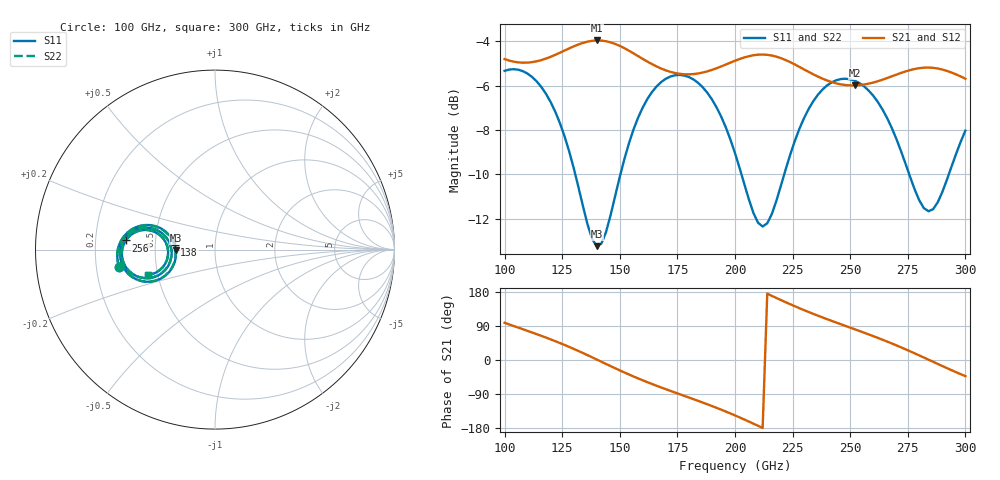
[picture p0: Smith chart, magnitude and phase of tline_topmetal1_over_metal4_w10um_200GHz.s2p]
#  GHZ S DB R 50
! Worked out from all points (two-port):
!   101 points, 100 GHz to 300 GHz, reference 50 ohm
!   highest |S21| = -3.96 dB at 140 GHz (marker M1); lowest = -6.0 dB at 252 GHz (marker M2)
!   |S21| within 3 dB of the highest: start of sweep to end of sweep
!   lowest |S11| = -13.2 dB at 140 GHz (marker M3), VSWR 1.56, Z = 32.1 - j0.33 ohm
!   |S11| at or under -10 dB: 130.7 GHz to 150.3 GHz (19.57 GHz wide, 13.9 % of centre); 202.8 GHz to 221.4 GHz (18.53 GHz wide, 8.74 % of centre); 275.6 GHz to 292.8 GHz (17.14 GHz wide, 6.03 % of centre)
!   |S22| runs from -13.1 to -5.2 dB; largest |S21 - S12| = 6.1e-14
!   S11 on the Smith chart (normalised r, x): 100 GHz: 0.30, -0.08; 138 GHz: 0.63, +0.04; 256 GHz: 0.33, +0.05; 300 GHz: 0.44, -0.15
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100  -5.33 -169.5  -4.80 98.3  -4.80 98.3  -5.32 -169.4
110  -5.46 176.8  -4.96 76.8  -4.96 76.8  -5.45 176.9
120  -6.74 164.4  -4.69 54.4  -4.69 54.4  -6.72 164.7
134  -11.42 162.3  -4.07 18.4  -4.07 18.4  -11.37 162.5
138  -12.91 173.2  -3.97 7.0  -3.97 7.0  -12.83 173.4
140  -13.23 -178.7  -3.96 1.3  -3.96 1.3  -13.15 -178.6
146  -11.83 -157.5  -4.04 -16.1  -4.04 -16.1  -11.78 -157.7
154  -8.59 -152.3  -4.42 -38.3  -4.42 -38.3  -8.56 -152.5
168  -5.83 -166.4  -5.23 -72.6  -5.23 -72.6  -5.82 -166.5
182  -5.72 176.2  -5.47 -103.4  -5.47 -103.4  -5.71 176.2
192  -6.97 165.4  -5.21 -126.2  -5.21 -126.2  -6.96 165.4
200  -9.04 161.2  -4.87 -146.2  -4.87 -146.2  -9.02 161.3
212  -12.35 -177.4  -4.59 -179.4  -4.59 -179.4  -12.29 -177.4
224  -9.10 -155.5  -4.94 147.1  -4.94 147.1  -9.07 -155.7
234  -6.69 -161.4  -5.49 121.7  -5.49 121.7  -6.68 -161.6
252  -5.77 178.5  -5.99 81.0  -5.99 81.0  -5.77 178.4
256  -6.03 174.2  -5.95 72.1  -5.95 72.1  -6.02 174.1
268  -7.89 164.2  -5.58 43.8  -5.58 43.8  -7.89 164.1
276  -10.11 165.7  -5.29 23.0  -5.29 23.0  -10.11 165.7
284  -11.66 -178.0  -5.18 0.8  -5.18 0.8  -11.66 -178.1
292  -10.23 -161.2  -5.33 -21.4  -5.33 -21.4  -10.23 -161.3
300  -8.02 -159.2  -5.68 -42.7  -5.68 -42.7  -8.02 -159.3
